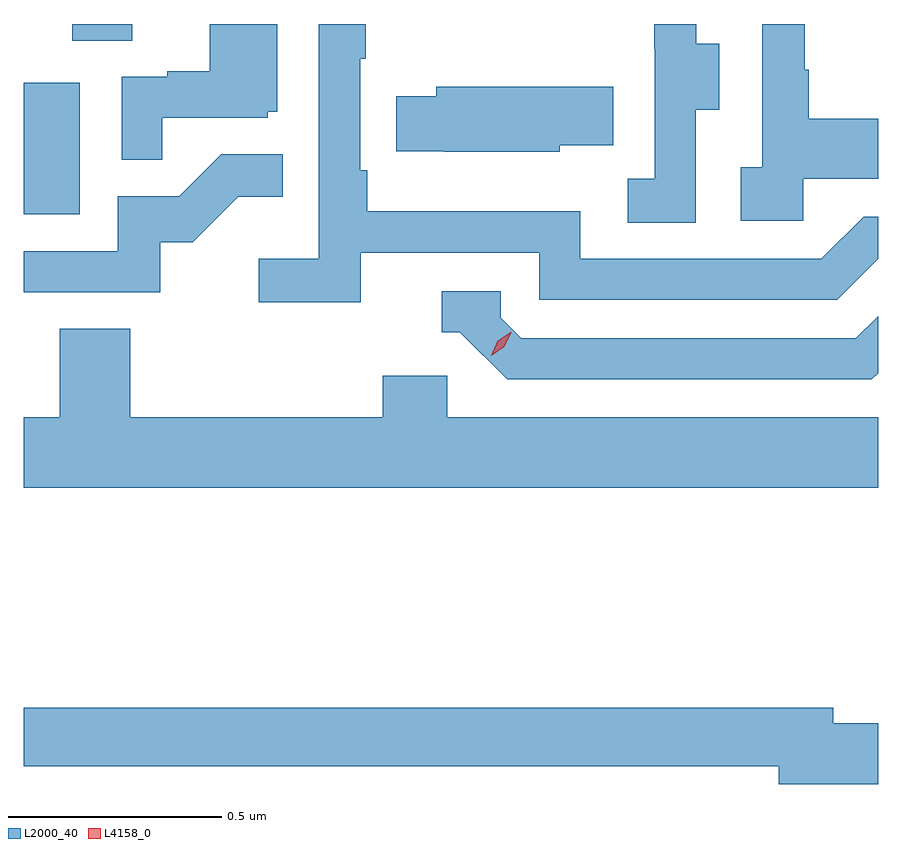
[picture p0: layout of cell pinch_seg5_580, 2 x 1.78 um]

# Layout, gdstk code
import gdstk
lib = gdstk.Library(unit=1e-6, precision=1e-09)
def R(c, l, rs):  # rectangles x0, y0, x1, y1
    for r in rs: c.add(gdstk.rectangle(r[:2], r[2:], *l))
def P(c, l, *ps):  # polygons
    for p in ps: c.add(gdstk.Polygon(p, *l))
L2000_40 = (2000, 40)
L4158_0 = (4158, 0)

pinch_seg5_580 = lib.new_cell('pinch_seg5_580')
R(pinch_seg5_580, L2000_40, [(1085.321,866.724,1085.452,867.031), (1085.435,867.13,1085.575,867.169)])
P(pinch_seg5_580, L2000_40, [(1086.894,866.968),(1086.949,866.968),(1086.949,867.123),(1086.895,867.123),(1086.895,867.169),(1086.797,867.169),(1086.797,867.111),(1086.798,867.111),(1086.798,866.807),(1086.735,866.807),(1086.735,866.704),(1086.894,866.704)],
  [(1087.146,866.807),(1087.321,866.807),(1087.321,866.947),(1087.159,866.947),(1087.159,867.062),(1087.149,867.062),(1087.149,867.169),(1087.05,867.169),(1087.05,866.834),(1086.999,866.834),(1086.999,866.709),(1087.146,866.709)],
  [(1085.645,866.949),(1085.892,866.949),(1085.892,866.964),(1085.914,866.964),(1085.914,867.169),(1085.756,867.169),(1085.756,867.058),(1085.657,867.058),(1085.657,867.045),(1085.55,867.045),(1085.55,866.851),(1085.645,866.851)],
  [(1086.11,866.634),(1086.528,866.634),(1086.528,866.523),(1087.225,866.523),(1087.321,866.619),(1087.321,866.718),(1087.287,866.718),(1087.188,866.619),(1086.624,866.619),(1086.624,866.731),(1086.125,866.731),(1086.125,866.827),(1086.108,866.827),(1086.108,867.088),(1086.121,867.088),(1086.121,867.169),(1086.012,867.169),(1086.012,866.62),(1085.871,866.62),(1085.871,866.518),(1086.11,866.518)],
  [(1086.576,866.885),(1086.701,866.885),(1086.701,867.022),(1086.287,867.022),(1086.287,867),(1086.193,867),(1086.193,866.871),(1086.304,866.871),(1086.304,866.87),(1086.576,866.87)],
  [(1085.64,866.658),(1085.716,866.658),(1085.823,866.765),(1085.927,866.765),(1085.927,866.864),(1085.783,866.864),(1085.685,866.766),(1085.541,866.766),(1085.541,866.637),(1085.321,866.637),(1085.321,866.541),(1085.64,866.541)],
  [(1087.321,866.352),(1087.321,866.485),(1087.269,866.433),(1086.486,866.433),(1086.438,866.481),(1086.438,866.544),(1086.299,866.544),(1086.299,866.448),(1086.342,866.448),(1086.453,866.337),(1087.306,866.337)],
  [(1087.321,866.248),(1086.312,866.248),(1086.312,866.346),(1086.161,866.346),(1086.161,866.248),(1085.57,866.248),(1085.57,866.456),(1085.405,866.456),(1085.405,866.248),(1085.321,866.248),(1085.321,866.084),(1087.321,866.084)],
  [(1087.321,865.532),(1087.216,865.532),(1087.216,865.568),(1085.321,865.568),(1085.321,865.432),(1087.088,865.432),(1087.088,865.39),(1087.321,865.39)])
P(pinch_seg5_580, L4158_0, [(1086.415,866.393),(1086.415,866.393),(1086.431,866.427),(1086.461,866.448),(1086.462,866.448),(1086.462,866.448),(1086.446,866.414),(1086.415,866.393)])

lib.write_gds('pinch_seg5_580.gds')
